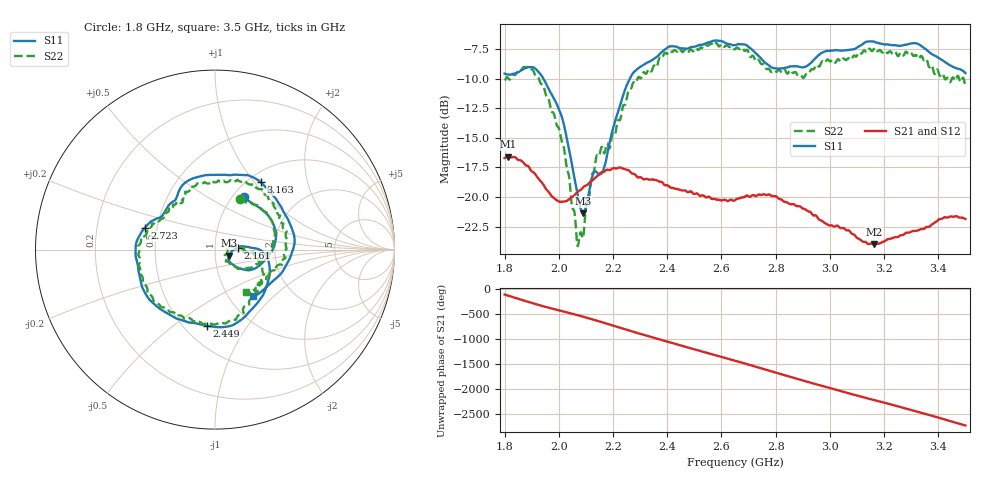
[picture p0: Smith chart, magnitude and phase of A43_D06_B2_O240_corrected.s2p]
! Created with skrf 1.9.0 (http://scikit-rf.org).
# Hz S RI R 50.0
!freq ReS11 ImS11 ReS21 ImS21 ReS12 ImS12 ReS22 ImS22
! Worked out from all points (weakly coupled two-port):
!   1601 points, 1.8 GHz to 3.5 GHz, reference 50 ohm
!   highest |S21| = -16.59 dB at 1.812 GHz (marker M1); lowest = -24.0 dB at 3.163 GHz (marker M2)
!   lowest |S11| = -21.4 dB at 2.09 GHz (marker M3), VSWR 1.19, Z = 58.3 - j3.95 ohm
!   |S11| at or under -10 dB: 1.944 GHz to 2.261 GHz (317.8 MHz wide, 15.1 % of centre)
!   |S22| runs from -24.2 to -7.0 dB; largest |S21 - S12| = 0.0024
!   S11 on the Smith chart (normalised r, x): 1.8 GHz: 1.13, +0.74; 2.161 GHz: 1.29, +0.03; 2.449 GHz: 0.64, -0.67; 2.723 GHz: 0.43, +0.13; 3.163 GHz: 1.14, +1.08; 3.5 GHz: 1.29, -0.75
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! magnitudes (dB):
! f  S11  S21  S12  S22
! 1.8 GHz  -9.6  -16.7  -16.7  -10.1
! 1.812 GHz  -9.6  -16.6  -16.6  -9.9
! 1.882 GHz  -9.0  -17.3  -17.4  -9.0
! 1.942 GHz  -9.9  -18.9  -18.9  -10.5
! 2.013 GHz  -13.3  -20.4  -20.4  -15.4
! 2.067 GHz  -19.5  -19.6  -19.6  -23.8
! 2.084 GHz  -21.2  -19.3  -19.3  -23.1
! 2.09 GHz  -21.4  -19.2  -19.2  -23.4
! 2.128 GHz  -18.0  -18.5  -18.5  -17.9
! 2.161 GHz  -17.9  -17.9  -17.8  -15.9
! 2.19 GHz  -15.1  -17.7  -17.7  -15.7
! 2.259 GHz  -10.1  -17.8  -17.8  -11.0
! 2.367 GHz  -8.0  -18.7  -18.6  -8.5
! 2.449 GHz  -7.4  -19.4  -19.4  -7.5
! 2.65 GHz  -7.2  -20.3  -20.2  -7.5
! 2.723 GHz  -7.8  -19.9  -19.8  -8.4
! 2.798 GHz  -9.1  -19.9  -19.9  -9.3
! 2.934 GHz  -8.6  -21.4  -21.4  -9.2
! 3.163 GHz  -6.9  -24.0  -24.0  -7.4
! 3.217 GHz  -7.1  -23.6  -23.5  -7.7
! 3.324 GHz  -7.0  -22.8  -22.8  -8.2
! 3.5 GHz  -9.5  -21.9  -21.8  -10.6
